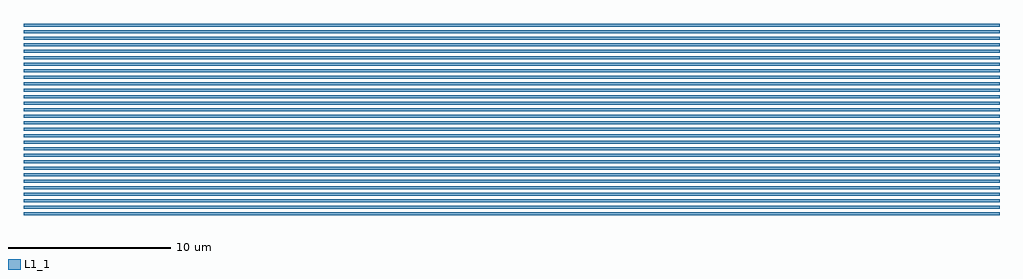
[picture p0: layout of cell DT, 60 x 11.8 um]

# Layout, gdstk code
import gdstk
lib = gdstk.Library(unit=1e-6, precision=1e-09)
def P(c, l, *ps):  # polygons
    for p in ps: c.add(gdstk.Polygon(p, *l))
L1_1 = (1, 1)

c_dt = lib.new_cell('DT')
P(c_dt, L1_1, [(-30,-0.1),(-30,0.1),(30,0.1),(30,-0.1),(-30,-0.1)],
  [(-30,0.3),(-30,0.5),(30,0.5),(30,0.3),(-30,0.3)],
  [(-30,0.7),(-30,0.9),(30,0.9),(30,0.7),(-30,0.7)],
  [(-30,1.1),(-30,1.3),(30,1.3),(30,1.1),(-30,1.1)],
  [(-30,1.5),(-30,1.7),(30,1.7),(30,1.5),(-30,1.5)],
  [(-30,1.9),(-30,2.1),(30,2.1),(30,1.9),(-30,1.9)],
  [(-30,2.3),(-30,2.5),(30,2.5),(30,2.3),(-30,2.3)],
  [(-30,2.7),(-30,2.9),(30,2.9),(30,2.7),(-30,2.7)],
  [(-30,3.1),(-30,3.3),(30,3.3),(30,3.1),(-30,3.1)],
  [(-30,3.5),(-30,3.7),(30,3.7),(30,3.5),(-30,3.5)],
  [(-30,3.9),(-30,4.1),(30,4.1),(30,3.9),(-30,3.9)],
  [(-30,4.3),(-30,4.5),(30,4.5),(30,4.3),(-30,4.3)],
  [(-30,4.7),(-30,4.9),(30,4.9),(30,4.7),(-30,4.7)],
  [(-30,5.1),(-30,5.3),(30,5.3),(30,5.1),(-30,5.1)],
  [(-30,5.5),(-30,5.7),(30,5.7),(30,5.5),(-30,5.5)],
  [(-30,5.9),(-30,6.1),(30,6.1),(30,5.9),(-30,5.9)],
  [(-30,6.3),(-30,6.5),(30,6.5),(30,6.3),(-30,6.3)],
  [(-30,6.7),(-30,6.9),(30,6.9),(30,6.7),(-30,6.7)],
  [(-30,7.1),(-30,7.3),(30,7.3),(30,7.1),(-30,7.1)],
  [(-30,7.5),(-30,7.7),(30,7.7),(30,7.5),(-30,7.5)],
  [(-30,7.9),(-30,8.1),(30,8.1),(30,7.9),(-30,7.9)],
  [(-30,8.3),(-30,8.5),(30,8.5),(30,8.3),(-30,8.3)],
  [(-30,8.7),(-30,8.9),(30,8.9),(30,8.7),(-30,8.7)],
  [(-30,9.1),(-30,9.3),(30,9.3),(30,9.1),(-30,9.1)],
  [(-30,9.5),(-30,9.7),(30,9.7),(30,9.5),(-30,9.5)],
  [(-30,9.9),(-30,10.1),(30,10.1),(30,9.9),(-30,9.9)],
  [(-30,10.3),(-30,10.5),(30,10.5),(30,10.3),(-30,10.3)],
  [(-30,10.7),(-30,10.9),(30,10.9),(30,10.7),(-30,10.7)],
  [(-30,11.1),(-30,11.3),(30,11.3),(30,11.1),(-30,11.1)],
  [(-30,11.5),(-30,11.7),(30,11.7),(30,11.5),(-30,11.5)])

lib.write_gds('DT.gds')
